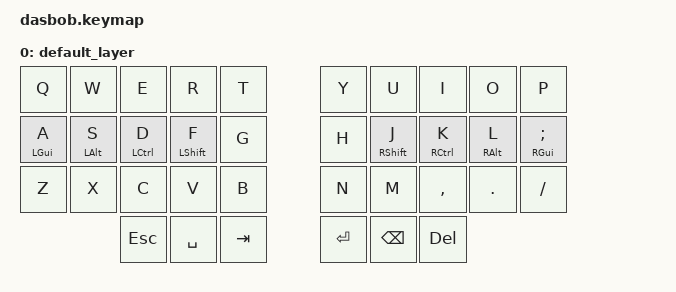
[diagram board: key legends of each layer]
/*
 * Copyright (c) 2020 The ZMK Contributors
 *
 * SPDX-License-Identifier: MIT
 */

#include <behaviors.dtsi>
#include <dt-bindings/zmk/keys.h>
 
#include <dt-bindings/zmk/bt.h>
#include <dt-bindings/zmk/outputs.h>
#include <dt-bindings/zmk/ext_power.h>

/*trigger build*/

/ {
    behaviors {
        hm: balanced_homerow_mods {
            compatible = "zmk,behavior-hold-tap";
            label = "HOMEROW_MODS";
            #binding-cells = <2>;
            tapping-term-ms = <200>;    // <---[[moderate duration]]
            quick_tap_ms = <0>;
            flavor = "balanced";
            bindings = <&kp>, <&kp>;
        };
    };
    keymap {
        compatible = "zmk,keymap";

        default_layer {
            // -----------------------------------------------------------------------------------------
            // |  TAB |  Q  |  W  |  E  |  R  |  T  |   |  Y  |  U   |  I  |  O  |  P  | BKSP |
            // |  PAD |  A  |  S  |  D  |  F  |  G  |   |  H  |  J   |  K  |  L  |  ;  |  '   |
            // |      |  Z  |  X  |  C  |  V  |  B  |   |  N  |  M   |  ,  |  .  |  /  | ESC  |
            //                    | ESC | NAV | SPC |   | ENT | FN   | ESC |
            bindings = <
                &kp Q      &kp W      &kp E       &kp R       &kp T   &kp Y &kp U       &kp I       &kp O      &kp P        
                &hm LGUI A &hm LALT S &hm LCTRL D &hm LSHFT F &kp G   &kp H &hm RSHFT J &hm RCTRL K &hm RALT L &hm RGUI SEMI
                &kp Z      &kp X      &kp C       &kp V       &kp B   &kp N &kp M       &kp COMMA   &kp DOT    &kp FSLH     
                &kp ESC &kp SPACE  &kp TAB     &kp RET &kp BSPC  &kp DEL
            >;
        };
    };
};
